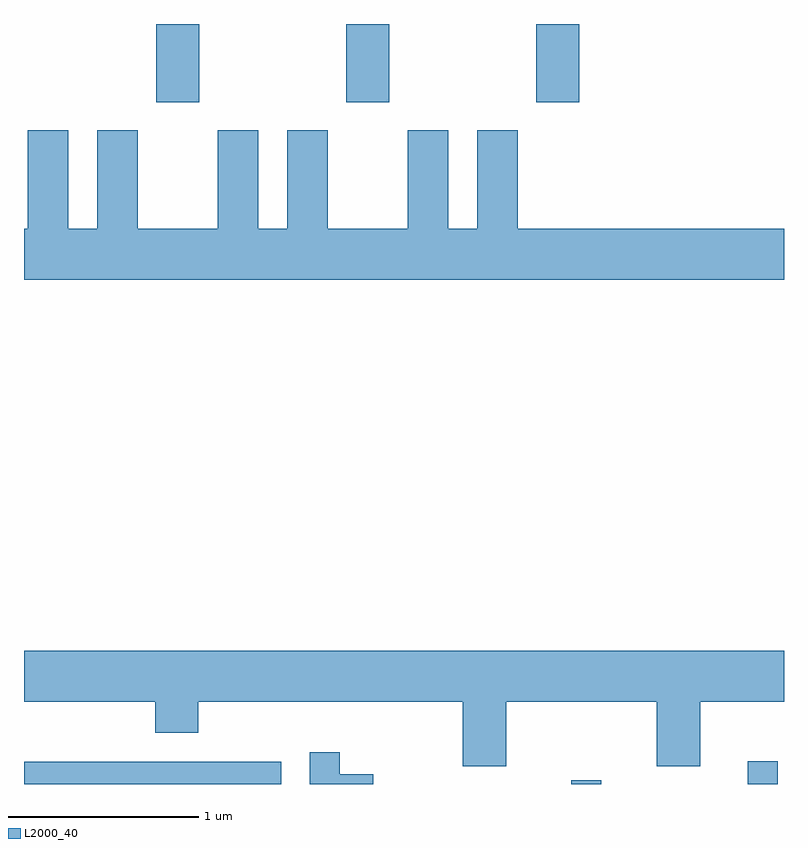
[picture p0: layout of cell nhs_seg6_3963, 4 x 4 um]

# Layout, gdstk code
import gdstk
lib = gdstk.Library(unit=1e-6, precision=1e-09)
def R(c, l, rs):  # rectangles x0, y0, x1, y1
    for r in rs: c.add(gdstk.rectangle(r[:2], r[2:], *l))
def A(c, l, x, y, w, h, nx, ny, dx, dy):  # array of equal rectangles
    R(c, l, [(x+i*dx, y+j*dy, x+i*dx+w, y+j*dy+h) for i in range(nx) for j in range(ny)])
def P(c, l, *ps):  # polygons
    for p in ps: c.add(gdstk.Polygon(p, *l))
L2000_40 = (2000, 40)

nhs_seg6_3963 = lib.new_cell('nhs_seg6_3963')
A(nhs_seg6_3963, L2000_40, 304.306, 1659.751, 0.228, 0.411, 3, 1, 1, 0)
R(nhs_seg6_3963, L2000_40, [(303.611,1656.162,304.964,1656.279), (306.491,1656.162,306.649,1656.183), (307.421,1656.162,307.579,1656.283)])
P(nhs_seg6_3963, L2000_40, [(307.611,1659.084),(306.209,1659.084),(306.209,1659.604),(305.996,1659.604),(305.996,1659.084),(305.844,1659.084),(305.844,1659.604),(305.631,1659.604),(305.631,1659.084),(305.209,1659.084),(305.209,1659.604),(304.996,1659.604),(304.996,1659.084),(304.844,1659.084),(304.844,1659.604),(304.631,1659.604),(304.631,1659.084),(304.209,1659.084),(304.209,1659.604),(303.996,1659.604),(303.996,1659.084),(303.844,1659.084),(303.844,1659.604),(303.631,1659.604),(303.631,1659.084),(303.611,1659.084),(303.611,1658.816),(307.611,1658.816)],
  [(306.149,1656.596),(306.941,1656.596),(306.941,1656.256),(307.169,1656.256),(307.169,1656.596),(307.611,1656.596),(307.611,1656.864),(303.611,1656.864),(303.611,1656.596),(304.301,1656.596),(304.301,1656.431),(304.529,1656.431),(304.529,1656.596),(305.921,1656.596),(305.921,1656.256),(306.149,1656.256)],
  [(305.449,1656.214),(305.274,1656.214),(305.274,1656.328),(305.116,1656.328),(305.116,1656.162),(305.449,1656.162)])

lib.write_gds('nhs_seg6_3963.gds')
